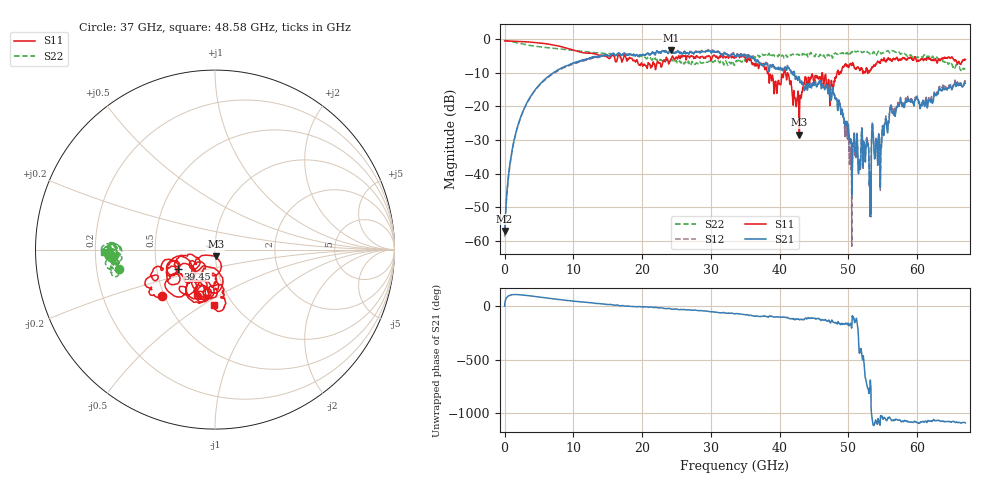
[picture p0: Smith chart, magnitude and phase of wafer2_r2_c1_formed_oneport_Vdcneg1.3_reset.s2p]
!Keysight Technologies,N5227A,US51270248,A.10.65.08
!Date: Tuesday, June 11, 2024 08:08:14
!Correction: S11(Full 2 Port(1,4))
!S41(Full 2 Port(1,4))
!S14(Full 2 Port(1,4))
!S44(Full 2 Port(1,4))
!S2P File: Measurements: S11, S41, S14, S44:
# Hz S  dB  R 50
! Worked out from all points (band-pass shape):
!   3201 points, 10 MHz to 67 GHz, reference 50 ohm
!   highest |S21| = -3.27 dB at 24.19 GHz (marker M1); lowest = -57.0 dB at 10 MHz (marker M2)
!   |S21| within 3 dB of the highest: 11.34 GHz to 36.39 GHz (25.05 GHz wide, 105 % of centre); 36.4453 GHz to 36.55288 GHz (107.6 MHz wide, 0.295 % of centre)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
!   lowest |S11| = -28.4 dB at 42.86 GHz (marker M3), VSWR 1.08, Z = 50.3 - j3.8 ohm
!   |S11| at or under -10 dB: 38.36 GHz to 40.6 GHz (2.237 GHz wide, 5.67 % of centre); 41.15 GHz to 46.19 GHz (5.039 GHz wide, 11.5 % of centre); 46.19 GHz to 48.35 GHz (2.161 GHz wide, 4.57 % of centre)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
!   |S22| runs from -9.3 to -0.4 dB; largest |S21 - S12| = 0.053
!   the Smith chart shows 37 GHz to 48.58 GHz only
!   S11 on the Smith chart (normalised r, x): 37 GHz: 0.48, -0.30; 39.45 GHz: 0.65, -0.14; 48.58 GHz: 0.82, -0.56
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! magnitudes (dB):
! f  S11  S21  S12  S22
! 10 MHz  -0.5  -57.0  -58.7  -0.4
! 1.12 GHz  -0.6  -32.8  -33.0  -0.8
! 2.983 GHz  -0.8  -20.0  -20.1  -1.6
! 11.19 GHz  -3.9  -6.3  -6.6  -3.6
! 22.35 GHz  -6.9  -3.9  -3.9  -6.0
! 24.19 GHz  -5.9  -3.3  -3.3  -6.4
! 33.51 GHz  -5.5  -5.1  -5.0  -7.4
! 37 GHz  -8.1  -7.0  -7.0  -5.2
! 39.45 GHz  -12.7  -8.8  -8.9  -5.0
! 40.96 GHz  -11.2  -9.1  -9.0  -4.7
! 42.86 GHz  -28.4  -11.7  -11.6  -4.6
! 44.68 GHz  -10.4  -13.9  -13.6  -4.5
! 47.55 GHz  -12.5  -17.5  -16.7  -4.8
! 48.58 GHz  -10.2  -18.1  -18.0  -4.2
! 50.4 GHz  -7.7  -30.6  -38.9  -3.9
! 50.94 GHz  -8.7  -32.6  -34.6  -3.7
! 52.53 GHz  -9.1  -32.3  -32.3  -4.2
! 53.04 GHz  -9.8  -43.3  -44.1  -4.3
! 53.66 GHz  -7.9  -31.0  -30.5  -3.8
! 54.52 GHz  -6.7  -29.8  -30.1  -4.3
! 55.84 GHz  -5.8  -25.0  -24.4  -3.6
! 67 GHz  -6.1  -13.1  -12.7  -8.7
